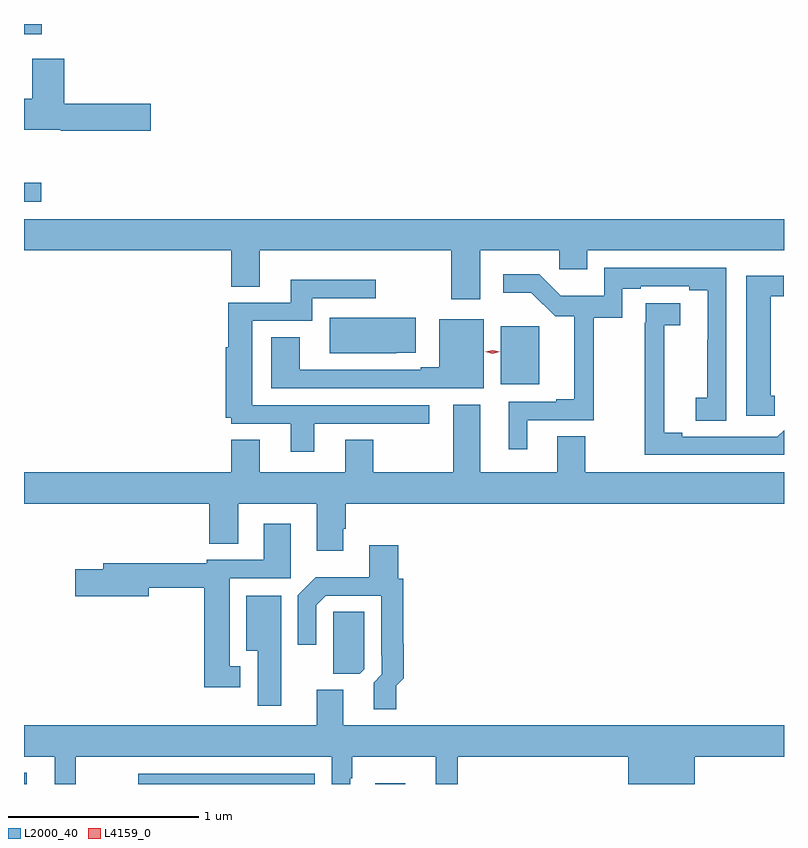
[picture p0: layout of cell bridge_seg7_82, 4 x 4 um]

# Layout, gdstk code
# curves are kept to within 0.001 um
import gdstk
lib = gdstk.Library(unit=1e-6, precision=1e-09)
def R(c, l, rs):  # rectangles x0, y0, x1, y1
    for r in rs: c.add(gdstk.rectangle(r[:2], r[2:], *l))
def P(c, l, *ps):  # polygons
    for p in ps: c.add(gdstk.Polygon(p, *l))
L2000_40 = (2000, 40)
L4159_0 = (4159, 0)

bridge_seg7_82 = lib.new_cell('bridge_seg7_82')
R(bridge_seg7_82, L2000_40, [(1071.049,1013.792,1071.064,1013.851), (1071.649,1013.792,1072.578,1013.847), (1072.898,1013.792,1073.056,1013.797), (1073.558,1015.895,1073.761,1016.2), (1071.049,1016.856,1071.139,1016.957), (1071.049,1017.738,1071.143,1017.792)])
P(bridge_seg7_82, L2000_40, [(1071.715,1017.371),(1071.26,1017.371),(1071.26,1017.61),(1071.092,1017.61),(1071.092,1017.399),(1071.049,1017.399),(1071.049,1017.236),(1071.243,1017.236),(1071.243,1017.229),(1071.715,1017.229)],
  [(1073.449,1016.6),(1073.867,1016.6),(1073.867,1016.502),(1074.013,1016.502),(1074.013,1016.6),(1075.049,1016.6),(1075.049,1016.764),(1071.049,1016.764),(1071.049,1016.6),(1072.139,1016.6),(1072.139,1016.41),(1072.291,1016.41),(1072.291,1016.6),(1073.297,1016.6),(1073.297,1016.343),(1073.449,1016.343)],
  [(1073.698,1015.707),(1074.047,1015.707),(1074.047,1016.245),(1074.198,1016.245),(1074.198,1016.398),(1074.295,1016.398),(1074.295,1016.412),(1074.551,1016.412),(1074.551,1016.392),(1074.647,1016.392),(1074.646,1015.825),(1074.585,1015.825),(1074.585,1015.705),(1074.744,1015.705),(1074.744,1016.508),(1074.102,1016.508),(1074.102,1016.362),(1073.873,1016.362),(1073.76,1016.475),(1073.571,1016.475),(1073.571,1016.378),(1073.719,1016.378),(1073.845,1016.253),(1073.945,1016.253),(1073.945,1015.816),(1073.849,1015.816),(1073.849,1015.803),(1073.6,1015.803),(1073.6,1015.554),(1073.698,1015.554)],
  [(1075.001,1015.836),(1074.979,1015.836),(1074.979,1016.359),(1075.048,1016.359),(1075.048,1016.467),(1074.851,1016.467),(1074.851,1015.731),(1075.001,1015.731)],
  [(1072.576,1015.689),(1073.182,1015.689),(1073.182,1015.785),(1072.249,1015.785),(1072.249,1016.229),(1072.567,1016.229),(1072.567,1016.349),(1072.9,1016.349),(1072.9,1016.446),(1072.454,1016.446),(1072.454,1016.325),(1072.124,1016.325),(1072.124,1016.091),(1072.112,1016.091),(1072.112,1015.719),(1072.14,1015.719),(1072.14,1015.689),(1072.454,1015.689),(1072.454,1015.542),(1072.576,1015.542)],
  [(1075.049,1015.655),(1075.014,1015.62),(1074.514,1015.62),(1074.514,1015.64),(1074.418,1015.64),(1074.42,1016.206),(1074.502,1016.206),(1074.502,1016.321),(1074.322,1016.321),(1074.322,1016.219),(1074.316,1016.219),(1074.316,1015.524),(1075.049,1015.524)],
  [(1073.009,1016.061),(1073.112,1016.061),(1073.112,1016.245),(1072.658,1016.245),(1072.658,1016.06),(1073.009,1016.06)],
  [(1073.47,1016.239),(1073.234,1016.239),(1073.234,1015.985),(1073.138,1015.985),(1073.138,1015.971),(1072.501,1015.971),(1072.501,1016.143),(1072.349,1016.143),(1072.349,1015.875),(1073.47,1015.875)],
  [(1072.729,1015.135),(1072.742,1015.135),(1072.742,1015.268),(1075.049,1015.268),(1075.049,1015.432),(1074.003,1015.432),(1074.003,1015.622),(1073.855,1015.622),(1073.855,1015.432),(1073.449,1015.432),(1073.449,1015.789),(1073.309,1015.789),(1073.309,1015.432),(1072.887,1015.432),(1072.887,1015.604),(1072.739,1015.604),(1072.739,1015.432),(1072.291,1015.432),(1072.291,1015.604),(1072.139,1015.604),(1072.139,1015.432),(1071.049,1015.432),(1071.049,1015.268),(1072.025,1015.268),(1072.025,1015.057),(1072.177,1015.057),(1072.177,1015.268),(1072.589,1015.268),(1072.589,1015.02),(1072.729,1015.02)],
  [(1072.186,1014.413),(1072.132,1014.413),(1072.132,1014.876),(1072.453,1014.876),(1072.453,1015.162),(1072.31,1015.162),(1072.31,1014.972),(1072.01,1014.972),(1072.01,1014.955),(1071.467,1014.955),(1071.467,1014.921),(1071.318,1014.921),(1071.318,1014.779),(1071.706,1014.779),(1071.706,1014.826),(1071.998,1014.826),(1071.998,1014.3),(1072.186,1014.3)],
  [(1073.009,1014.309),(1073.048,1014.348),(1073.048,1014.53),(1073.045,1014.53),(1073.045,1014.873),(1073.018,1014.873),(1073.018,1015.048),(1072.865,1015.048),(1072.865,1014.88),(1072.585,1014.88),(1072.491,1014.786),(1072.491,1014.525),(1072.587,1014.525),(1072.587,1014.732),(1072.638,1014.783),(1072.929,1014.783),(1072.929,1014.469),(1072.932,1014.469),(1072.932,1014.369),(1072.889,1014.326),(1072.889,1014.186),(1073.009,1014.186)],
  [(1072.402,1014.784),(1072.22,1014.784),(1072.22,1014.494),(1072.28,1014.494),(1072.28,1014.204),(1072.402,1014.204)],
  [(1072.839,1014.396),(1072.839,1014.698),(1072.677,1014.698),(1072.677,1014.587),(1072.676,1014.587),(1072.676,1014.373),(1072.815,1014.373)],
  [(1071.322,1013.936),(1072.668,1013.936),(1072.668,1013.792),(1072.765,1013.792),(1072.765,1013.823),(1072.777,1013.823),(1072.777,1013.936),(1073.216,1013.936),(1073.216,1013.792),(1073.333,1013.792),(1073.333,1013.936),(1074.23,1013.936),(1074.23,1013.792),(1074.58,1013.792),(1074.58,1013.936),(1075.049,1013.936),(1075.049,1014.1),(1072.729,1014.1),(1072.729,1014.288),(1072.589,1014.288),(1072.589,1014.1),(1071.049,1014.1),(1071.049,1013.936),(1071.212,1013.936),(1071.212,1013.792),(1071.322,1013.792)])
P(bridge_seg7_82, L4159_0, [(1073.515,1016.056),(1073.477,1016.066),(1073.477,1016.066),(1073.477,1016.066),(1073.515,1016.076),(1073.553,1016.066),(1073.553,1016.066),(1073.553,1016.066)])

lib.write_gds('bridge_seg7_82.gds')
